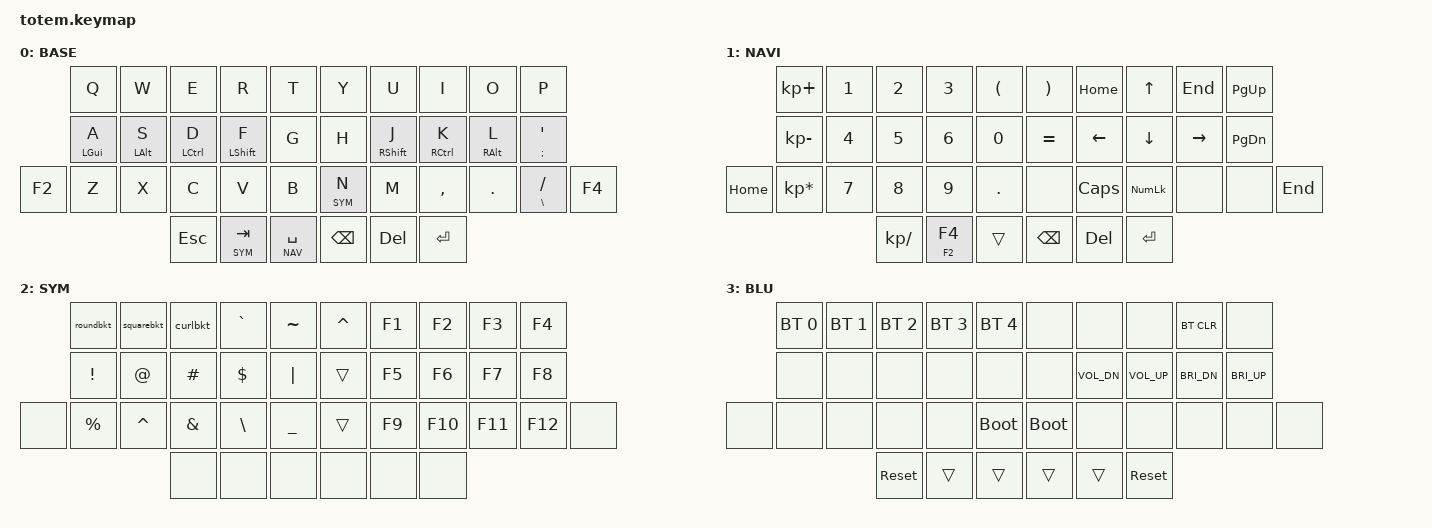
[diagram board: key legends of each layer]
 //
//                                                        ▀▀▀▀▀     ▀▀▀▀▀          ▀▀█▀▀
//                                                        ▄▀▀▀▄  ▄  ▄▀▀▀▄  ▄  ▄▀▀▀▄  █  ▄▀▀▀▄
//                                                        █   █  █  █   █  █  █   █  █  █   █
//                                                         ▀▀▀   █   ▀▀▀   █   ▀▀▀   ▀   ▀▀▀
//                                                               █      ▄▄▄█▄▄▄    █   █  
//                                                               ▀      █  █  █     █▄█
//                                                             ▀▀▀▀▀    █  █  █      ▀
//                                                                      ▀  ▀  ▀
//
// ▄▄▄▄▄▄▄▄▄▄▄▄▄▄▄▄▄▄▄▄▄▄▄▄▄▄▄▄▄▄▄▄▄▄▄▄▄▄▄▄▄▄▄▄▄▄▄▄▄▄▄▄▄▄▄▄▄▄▄▄▄▄▄▄▄▄▄▄▄▄▄▄▄▄▄▄▄▄▄▄▄▄▄▄▄▄▄▄▄▄▄▄▄▄▄▄▄▄▄▄▄▄▄▄▄▄▄▄▄▄▄▄▄▄▄▄▄▄▄▄▄▄▄▄▄▄▄▄▄▄▄▄▄▄▄▄▄▄▄▄▄▄▄▄▄▄▄▄▄

#include <behaviors.dtsi>
#include <dt-bindings/zmk/bt.h>
#include <dt-bindings/zmk/keys.h>

#define BASE 0
#define NAV  1
#define SYM  2
#define BLU  3

/ {
    behaviors {
        macros {
            roundbkt: round_brackets {
                label = "round_brackets";
                compatible = "zmk,behavior-macro";
                #binding-cells = <0>;
                bindings = <&macro_tap>, <&kp LPAR &kp RPAR>;
            };

            squarebkt: square_brackets {
                label = "square_brackets";
                compatible = "zmk,behavior-macro";
                #binding-cells = <0>;
                bindings = <&macro_tap>, <&kp LBKT &kp RBKT &kp LEFT>;
            };

            curlbkt: curl_brackets {
                label = "curl_brackets";
                compatible = "zmk,behavior-macro";
                #binding-cells = <0>;
                bindings = <&macro_tap>, <&kp LBRC &kp RBRC &kp LEFT>;
            };
        };

        hm: homerow_mods {
            compatible = "zmk,behavior-hold-tap";
            label = "HOMEROW_MODS";
            #binding-cells = <2>;
            tapping-term-ms = <150>;
            flavor = "tap-preferred";
            bindings = <&kp>, <&kp>;
        };

        combos {
            compatible = "zmk,combos";

            combo_layer3 {
                timeout-ms = <50>;
                key-positions = <34 35>;
                layers = <BASE>;
                bindings = <&mo BLU>;
            };
        };
    };

    keymap {
        compatible = "zmk,keymap";

        // ▄▄▄▄▄▄▄▄▄▄▄▄▄▄▄▄▄▄▄▄▄▄▄▄▄▄▄▄▄▄▄▄▄▄▄▄▄▄▄▄▄▄▄▄▄▄▄▄▄▄▄▄▄▄▄▄▄▄▄▄▄▄▄▄▄▄▄▄▄▄▄▄▄▄▄▄▄▄▄▄▄▄▄▄▄▄▄▄▄▄▄▄▄▄▄▄▄▄▄▄▄▄▄▄▄▄▄▄▄▄▄▄▄▄▄▄▄▄▄▄▄▄▄▄▄▄▄▄▄▄▄▄▄▄▄▄▄▄▄▄▄▄▄▄▄▄▄▄▄

        base_layer {
            label = "BASE";
            // Visual map and hold/tap legend: docs/KEYMAP.md#base-layer

            bindings = <
       &kp Q       &kp W       &kp E        &kp R        &kp T          &kp Y       &kp U        &kp I        &kp O       &kp P
       &hm LGUI A  &hm LALT S  &hm LCTRL D  &hm LSHFT F  &kp G          &kp H       &hm RSHFT J  &hm RCTRL K  &hm RALT L  &hm SEMI SQT
&kp F2 &kp Z       &kp X       &kp C        &kp V        &kp B          &lt SYM N   &kp M        &kp COMMA    &kp DOT     &hm BSLH FSLH  &kp F4
                               &kp ESC      &lt SYM TAB  &lt NAV SPACE  &kp BSPC    &kp DEL      &kp ENTER
            >;
        };

        // ▄▄▄▄▄▄▄▄▄▄▄▄▄▄▄▄▄▄▄▄▄▄▄▄▄▄▄▄▄▄▄▄▄▄▄▄▄▄▄▄▄▄▄▄▄▄▄▄▄▄▄▄▄▄▄▄▄▄▄▄▄▄▄▄▄▄▄▄▄▄▄▄▄▄▄▄▄▄▄▄▄▄▄▄▄▄▄▄▄▄▄▄▄▄▄▄▄▄▄▄▄▄▄▄▄▄▄▄▄▄▄▄▄▄▄▄▄▄▄▄▄▄▄▄▄▄▄▄▄▄▄▄▄▄▄▄▄▄▄▄▄▄▄▄▄▄▄▄▄

        nav_layer {
            label = "NAVI";
            // Hold Space to activate. Visual map: docs/KEYMAP.md#navigation-layer

            bindings = <
       &kp KP_PLUS      &kp N1  &kp N2         &kp N3     &kp LPAR    &kp RPAR   &kp HOME  &kp UP     &kp END    &kp PG_UP
       &kp KP_MINUS     &kp N4  &kp N5         &kp N6     &kp N0      &kp EQUAL  &kp LEFT  &kp DOWN   &kp RIGHT  &kp PG_DN
&kp HOME  &kp KP_MULTIPLY  &kp N7  &kp N8         &kp N9     &kp DOT     &none      &kp CAPS  &kp KP_NUM  &none      &none      &kp END
                                &kp KP_DIVIDE  &hm F2 F4  &trans      &kp BSPC   &kp DEL   &kp ENTER
            >;
        };

        // ▄▄▄▄▄▄▄▄▄▄▄▄▄▄▄▄▄▄▄▄▄▄▄▄▄▄▄▄▄▄▄▄▄▄▄▄▄▄▄▄▄▄▄▄▄▄▄▄▄▄▄▄▄▄▄▄▄▄▄▄▄▄▄▄▄▄▄▄▄▄▄▄▄▄▄▄▄▄▄▄▄▄▄▄▄▄▄▄▄▄▄▄▄▄▄▄▄▄▄▄▄▄▄▄▄▄▄▄▄▄▄▄▄▄▄▄▄▄▄▄▄▄▄▄▄▄▄▄▄▄▄▄▄▄▄▄▄▄▄▄▄▄▄▄▄▄▄▄▄

        sim_layer {
            label = "SYM";
            // Hold N or Tab to activate. Visual map: docs/KEYMAP.md#symbol-layer

            bindings = <
       &roundbkt  &squarebkt  &curlbkt       &kp GRAVE      &kp TILDE         &kp CARET  &kp F1  &kp F2   &kp F3   &kp F4
       &kp EXCL   &kp AT      &kp HASH       &kp DOLLAR     &kp PIPE          &trans     &kp F5  &kp F6   &kp F7   &kp F8
&none  &kp PRCNT  &kp CARET   &kp AMPERSAND  &kp BACKSLASH  &kp UNDERSCORE    &trans     &kp F9  &kp F10  &kp F11  &kp F12  &none
                              &none          &none          &none             &none      &none   &none
            >;
        };

        // ▄▄▄▄▄▄▄▄▄▄▄▄▄▄▄▄▄▄▄▄▄▄▄▄▄▄▄▄▄▄▄▄▄▄▄▄▄▄▄▄▄▄▄▄▄▄▄▄▄▄▄▄▄▄▄▄▄▄▄▄▄▄▄▄▄▄▄▄▄▄▄▄▄▄▄▄▄▄▄▄▄▄▄▄▄▄▄▄▄▄▄▄▄▄▄▄▄▄▄▄▄▄▄▄▄▄▄▄▄▄▄▄▄▄▄▄▄▄▄▄▄▄▄▄▄▄▄▄▄▄▄▄▄▄▄▄▄▄▄▄▄▄▄▄▄▄▄▄▄

        bluetooth_layer {
            label = "BLU";
            // Hold Space + Backspace to activate. Visual map: docs/KEYMAP.md#bluetooth-layer

            bindings = <
       &bt BT_SEL 0  &bt BT_SEL 1  &bt BT_SEL 2  &bt BT_SEL 3  &bt BT_SEL 4    &none        &none         &none         &bt BT_CLR    &none
       &none         &none         &none         &none         &none           &none        &kp C_VOL_DN  &kp C_VOL_UP  &kp C_BRI_DN  &kp C_BRI_UP
&none  &none         &none         &none         &none         &bootloader     &bootloader  &none         &none         &none         &none         &none
                                   &sys_reset    &trans        &trans          &trans       &trans        &sys_reset
            >;
        };

        // ▄▄▄▄▄▄▄▄▄▄▄▄▄▄▄▄▄▄▄▄▄▄▄▄▄▄▄▄▄▄▄▄▄▄▄▄▄▄▄▄▄▄▄▄▄▄▄▄▄▄▄▄▄▄▄▄▄▄▄▄▄▄▄▄▄▄▄▄▄▄▄▄▄▄▄▄▄▄▄▄▄▄▄▄▄▄▄▄▄▄▄▄▄▄▄▄▄▄▄▄▄▄▄▄▄▄▄▄▄▄▄▄▄▄▄▄▄▄▄▄▄▄▄▄▄▄▄▄▄▄▄▄▄▄▄▄▄▄▄▄▄▄▄▄▄▄▄▄▄
    };
};
